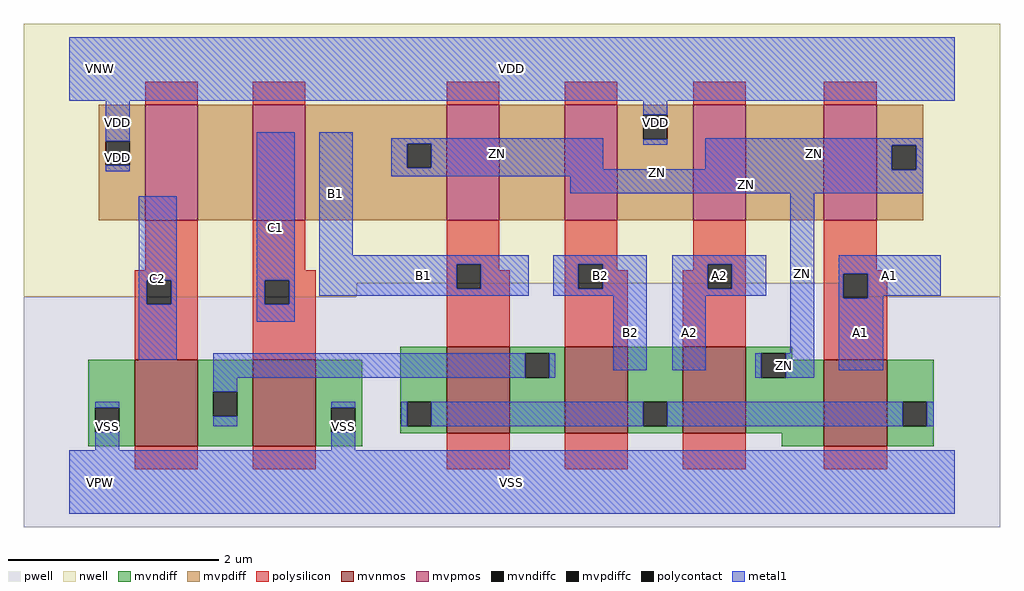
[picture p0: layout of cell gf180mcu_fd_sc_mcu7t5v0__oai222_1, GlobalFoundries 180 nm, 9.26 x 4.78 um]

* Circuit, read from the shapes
.subckt gf180mcu_fd_sc_mcu7t5v0__oai222_1 A1 A2 B1 B2 C1 C2 ZN VDD VNW VPW VSS
XM1 n1 C2 VSS VPW nfet_06v0 w=0.82u l=0.6u
XM2 VSS C1 n1 VPW nfet_06v0 w=0.82u l=0.6u
XM3 n1 B1 n2 VPW nfet_06v0 w=0.82u l=0.6u
XM4 n2 B2 n1 VPW nfet_06v0 w=0.82u l=0.6u
XM5 ZN A2 n2 VPW nfet_06v0 w=0.82u l=0.6u
XM6 n2 A1 ZN VPW nfet_06v0 w=0.82u l=0.6u
XM7 n3 C2 VDD VNW pfet_06v0 w=1.095u l=0.5u
XM8 ZN C1 n3 VNW pfet_06v0 w=1.095u l=0.5u
XM9 n4 B1 ZN VNW pfet_06v0 w=1.095u l=0.5u
XM10 VDD B2 n4 VNW pfet_06v0 w=1.095u l=0.5u
XM11 n5 A2 VDD VNW pfet_06v0 w=1.095u l=0.5u
XM12 ZN A1 n5 VNW pfet_06v0 w=1.095u l=0.5u
.ends

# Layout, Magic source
magic
tech gf180mcuD
magscale 1 10
<< nwell >>
rect -86 377 1766 870
rect -86 352 545 377
rect 1460 352 1766 377
<< pwell >>
rect 545 352 1460 377
rect -86 -86 1766 352
<< mvnmos >>
rect 124 68 244 232
rect 348 68 468 232
rect 716 93 836 257
rect 940 93 1060 257
rect 1164 93 1284 257
rect 1432 68 1552 232
<< mvpmos >>
rect 144 497 244 716
rect 348 497 448 716
rect 716 497 816 716
rect 940 497 1040 716
rect 1184 497 1284 716
rect 1432 497 1532 716
<< mvndiff >>
rect 36 141 124 232
rect 36 95 49 141
rect 95 95 124 141
rect 36 68 124 95
rect 244 171 348 232
rect 244 125 273 171
rect 319 125 348 171
rect 244 68 348 125
rect 468 141 556 232
rect 468 95 497 141
rect 543 95 556 141
rect 468 68 556 95
rect 628 152 716 257
rect 628 106 641 152
rect 687 106 716 152
rect 628 93 716 106
rect 836 244 940 257
rect 836 198 865 244
rect 911 198 940 244
rect 836 93 940 198
rect 1060 152 1164 257
rect 1060 106 1089 152
rect 1135 106 1164 152
rect 1060 93 1164 106
rect 1284 244 1372 257
rect 1284 198 1313 244
rect 1359 232 1372 244
rect 1359 198 1432 232
rect 1284 93 1432 198
rect 1352 68 1432 93
rect 1552 152 1640 232
rect 1552 106 1581 152
rect 1627 106 1640 152
rect 1552 68 1640 106
<< mvpdiff >>
rect 56 647 144 716
rect 56 601 69 647
rect 115 601 144 647
rect 56 497 144 601
rect 244 497 348 716
rect 448 642 716 716
rect 448 596 641 642
rect 687 596 716 642
rect 448 497 716 596
rect 816 497 940 716
rect 1040 697 1184 716
rect 1040 651 1089 697
rect 1135 651 1184 697
rect 1040 497 1184 651
rect 1284 497 1432 716
rect 1532 639 1620 716
rect 1532 593 1561 639
rect 1607 593 1620 639
rect 1532 497 1620 593
<< mvndiffc >>
rect 49 95 95 141
rect 273 125 319 171
rect 497 95 543 141
rect 641 106 687 152
rect 865 198 911 244
rect 1089 106 1135 152
rect 1313 198 1359 244
rect 1581 106 1627 152
<< mvpdiffc >>
rect 69 601 115 647
rect 641 596 687 642
rect 1089 651 1135 697
rect 1561 593 1607 639
<< polysilicon >>
rect 144 716 244 760
rect 348 716 448 760
rect 716 716 816 760
rect 940 716 1040 760
rect 1184 716 1284 760
rect 1432 716 1532 760
rect 144 402 244 497
rect 124 383 244 402
rect 124 337 147 383
rect 193 337 244 383
rect 124 232 244 337
rect 348 402 448 497
rect 716 413 816 497
rect 348 383 468 402
rect 348 337 371 383
rect 417 337 468 383
rect 348 232 468 337
rect 716 367 735 413
rect 781 402 816 413
rect 940 413 1040 497
rect 781 367 836 402
rect 716 257 836 367
rect 940 367 966 413
rect 1012 402 1040 413
rect 1184 413 1284 497
rect 1184 402 1211 413
rect 1012 367 1060 402
rect 940 257 1060 367
rect 1164 367 1211 402
rect 1257 367 1284 413
rect 1164 257 1284 367
rect 1432 402 1532 497
rect 1432 395 1552 402
rect 1432 349 1469 395
rect 1515 349 1552 395
rect 1432 232 1552 349
rect 124 24 244 68
rect 348 24 468 68
rect 716 24 836 93
rect 940 24 1060 93
rect 1164 24 1284 93
rect 1432 24 1552 68
<< polycontact >>
rect 147 337 193 383
rect 371 337 417 383
rect 735 367 781 413
rect 966 367 1012 413
rect 1211 367 1257 413
rect 1469 349 1515 395
<< metal1 >>
rect 0 724 1680 844
rect 69 647 115 724
rect 1089 697 1135 724
rect 69 590 115 601
rect 132 383 204 542
rect 132 337 147 383
rect 193 337 204 383
rect 132 232 204 337
rect 356 383 428 664
rect 356 337 371 383
rect 417 337 428 383
rect 474 430 538 664
rect 611 642 1013 652
rect 611 596 641 642
rect 687 596 1013 642
rect 1089 640 1135 651
rect 611 594 1013 596
rect 1207 639 1620 652
rect 1207 594 1561 639
rect 611 593 1561 594
rect 1607 593 1620 639
rect 611 580 1620 593
rect 951 548 1620 580
rect 474 413 872 430
rect 474 367 735 413
rect 781 367 872 413
rect 474 354 872 367
rect 918 413 1096 430
rect 918 367 966 413
rect 1012 367 1096 413
rect 918 354 1096 367
rect 356 304 428 337
rect 273 198 865 244
rect 911 198 922 244
rect 1032 212 1096 354
rect 1144 413 1322 430
rect 1144 367 1211 413
rect 1257 367 1322 413
rect 1144 354 1322 367
rect 1144 212 1208 354
rect 1368 244 1414 548
rect 1302 198 1313 244
rect 1359 198 1414 244
rect 1460 395 1654 430
rect 1460 349 1469 395
rect 1515 354 1654 395
rect 1515 349 1544 354
rect 1460 212 1544 349
rect 273 171 319 198
rect 49 141 95 152
rect 273 106 319 125
rect 497 141 543 152
rect 49 60 95 95
rect 630 106 641 152
rect 687 106 1089 152
rect 1135 106 1581 152
rect 1627 106 1640 152
rect 497 60 543 95
rect 0 -60 1680 60
<< labels >>
flabel metal1 s 474 430 538 664 0 FreeSans 400 0 0 0 B1
port 3 nsew default input
flabel metal1 s 918 354 1096 430 0 FreeSans 400 0 0 0 B2
port 4 nsew default input
flabel metal1 s 356 304 428 664 0 FreeSans 400 0 0 0 C1
port 5 nsew default input
flabel metal1 s 132 232 204 542 0 FreeSans 400 0 0 0 C2
port 6 nsew default input
flabel metal1 s 0 724 1680 844 0 FreeSans 400 0 0 0 VDD
port 8 nsew power bidirectional abutment
flabel metal1 s 497 60 543 152 0 FreeSans 400 0 0 0 VSS
port 11 nsew ground bidirectional abutment
flabel metal1 s 1207 594 1620 652 0 FreeSans 400 0 0 0 ZN
port 7 nsew default output
flabel metal1 s 1460 354 1654 430 0 FreeSans 400 0 0 0 A1
port 1 nsew default input
flabel metal1 s 1144 354 1322 430 0 FreeSans 400 0 0 0 A2
port 2 nsew default input
flabel nwell s 10 734 110 834 0 FreeSans 400 0 0 0 VNW
port 9 nsew power bidirectional
flabel pwell s 10 -50 110 50 0 FreeSans 400 0 0 0 VPW
port 10 nsew ground bidirectional
rlabel metal1 s 1460 212 1544 354 1 A1
port 1 nsew default input
rlabel metal1 s 1144 212 1208 354 1 A2
port 2 nsew default input
rlabel metal1 s 474 354 872 430 1 B1
port 3 nsew default input
rlabel metal1 s 1032 212 1096 354 1 B2
port 4 nsew default input
rlabel metal1 s 611 594 1013 652 1 ZN
port 7 nsew default output
rlabel metal1 s 611 580 1620 594 1 ZN
port 7 nsew default output
rlabel metal1 s 951 548 1620 580 1 ZN
port 7 nsew default output
rlabel metal1 s 1368 244 1414 548 1 ZN
port 7 nsew default output
rlabel metal1 s 1302 198 1414 244 1 ZN
port 7 nsew default output
rlabel metal1 s 1089 640 1135 724 1 VDD
port 8 nsew power bidirectional abutment
rlabel metal1 s 69 640 115 724 1 VDD
port 8 nsew power bidirectional abutment
rlabel metal1 s 69 590 115 640 1 VDD
port 8 nsew power bidirectional abutment
rlabel metal1 s 49 60 95 152 1 VSS
port 11 nsew ground bidirectional abutment
rlabel metal1 s 0 -60 1680 60 1 VSS
port 11 nsew ground bidirectional abutment
<< properties >>
string FIXED_BBOX 0 0 1680 784
string GDS_END 127532
string GDS_FILE $PDKPATH/libs.ref/gf180mcu_fd_sc_mcu7t5v0/gds/gf180mcu_fd_sc_mcu7t5v0.gds
string GDS_START 123138
string LEFclass core
string LEFsite GF018hv5v_mcu_sc7
string LEFsymmetry X Y
<< end >>
